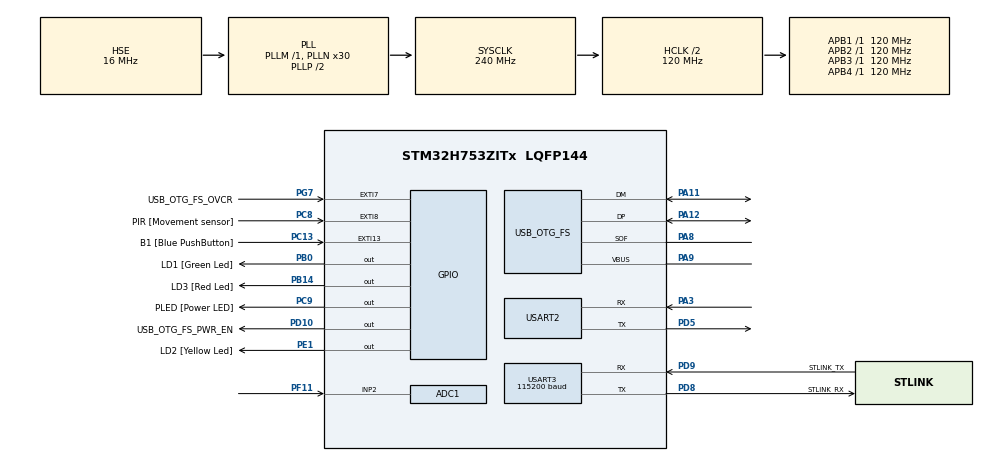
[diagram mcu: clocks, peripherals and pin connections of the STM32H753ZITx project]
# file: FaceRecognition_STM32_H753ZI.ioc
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ADC1.Channel-0\#ChannelRegularConversion=ADC_CHANNEL_2
ADC1.ClockPrescaler=ADC_CLOCK_ASYNC_DIV256
ADC1.ContinuousConvMode=DISABLE
ADC1.NbrOfConversionFlag=1
ADC1.OffsetNumber-0\#ChannelRegularConversion=ADC_OFFSET_NONE
ADC1.OffsetSignedSaturation-0\#ChannelRegularConversion=DISABLE
ADC1.Rank-0\#ChannelRegularConversion=1
ADC1.SamplingTime-0\#ChannelRegularConversion=ADC_SAMPLETIME_1CYCLE_5
ADC1.master=1
CORTEX_M7.CPU_DCache=Enabled
CORTEX_M7.CPU_ICache=Enabled
CORTEX_M7.MPU_Control=__NULL
Mcu.Family=STM32H7
Mcu.Name=STM32H753ZITx
Mcu.Package=LQFP144
NVIC.EXTI15_10_IRQn=true\:1\:0\:true\:false\:true\:true\:true\:true
NVIC.EXTI9_5_IRQn=true\:1\:0\:true\:false\:true\:true\:true\:true
NVIC.PriorityGroup=NVIC_PRIORITYGROUP_4
NVIC.TIM1_UP_IRQn=true\:2\:0\:true\:false\:true\:true\:true\:true
NVIC.USART2_IRQn=true\:0\:0\:false\:false\:true\:true\:true\:true
PA11.Mode=Device_Only
PA11.Signal=USB_OTG_FS_DM
PA12.Mode=Device_Only
PA12.Signal=USB_OTG_FS_DP
PA3.Mode=Asynchronous
PA3.Signal=USART2_RX
PA8.Mode=Activate_SOF_FS
PA8.Signal=USB_OTG_FS_SOF
PA9.Mode=Activate_VBUS
PA9.Signal=USB_OTG_FS_VBUS
PB0.GPIO_Label=LD1 [Green Led]
PB0.Signal=GPIO_Output
PB14.GPIO_Label=LD3 [Red Led]
PB14.Signal=GPIO_Output
PC13.GPIO_Label=B1 [Blue PushButton]
PC13.GPIO_ModeDefaultEXTI=GPIO_MODE_IT_FALLING
PC13.Signal=GPXTI13
PC14-OSC32_IN\ (OSC32_IN).Mode=LSE-External-Oscillator
PC14-OSC32_IN\ (OSC32_IN).Signal=RCC_OSC32_IN
PC15-OSC32_OUT\ (OSC32_OUT).Mode=LSE-External-Oscillator
PC15-OSC32_OUT\ (OSC32_OUT).Signal=RCC_OSC32_OUT
PC8.GPIO_Label=PIR [Movement sensor]
PC8.GPIO_PuPd=GPIO_PULLDOWN
PC8.Signal=GPXTI8
PC9.GPIO_Label=PLED [Power LED]
PC9.GPIO_PuPd=GPIO_PULLDOWN
PC9.Signal=GPIO_Output
PD10.GPIO_Label=USB_OTG_FS_PWR_EN
PD10.Signal=GPIO_Output
PD5.Mode=Asynchronous
PD5.Signal=USART2_TX
PD8.GPIO_Label=STLINK_RX
PD8.Mode=Asynchronous
PD8.Signal=USART3_TX
PD9.GPIO_Label=STLINK_TX
PD9.Mode=Asynchronous
PD9.Signal=USART3_RX
PE1.GPIO_Label=LD2 [Yellow Led]
PE1.Signal=GPIO_Output
PF11.Mode=IN2-Single-Ended
PF11.Signal=ADC1_INP2
PG7.GPIO_Label=USB_OTG_FS_OVCR
PG7.Signal=GPXTI7
PH0-OSC_IN\ (PH0).Mode=HSE-External-Clock-Source
PH0-OSC_IN\ (PH0).Signal=RCC_OSC_IN
PH1-OSC_OUT\ (PH1).Signal=RCC_OSC_OUT
ProjectManager.HeapSize=0x200
ProjectManager.StackSize=0x400
ProjectManager.TargetToolchain=STM32CubeIDE
RCC.ADCFreq_Value=37500000
RCC.APB1Freq_Value=120000000
RCC.APB2Freq_Value=120000000
RCC.APB3Freq_Value=120000000
RCC.APB4Freq_Value=120000000
RCC.CortexFreq_Value=240000000
RCC.DIVM1=1
RCC.DIVM2=1
RCC.DIVN1=30
RCC.DIVN2=9
RCC.DIVP2=4
RCC.DIVQ1=4
RCC.HCLKFreq_Value=120000000
RCC.HPRE=RCC_HCLK_DIV2
RCC.HSE_VALUE=16000000
RCC.PLL1_VCI_Range-AdvancedSettings=RCC_PLL1VCIRANGE_1
RCC.PLL2FRACN=3072
RCC.PLL2_VCI_Range-AdvancedSettings=RCC_PLL2VCIRANGE_0
RCC.PLL2_VCO_SEL-AdvancedSettings=RCC_PLL2VCOWIDE
RCC.PLLFRACN=0
RCC.PLLSourceVirtual=RCC_PLLSOURCE_HSE
RCC.PWR_Regulator_Voltage_Scale=PWR_REGULATOR_VOLTAGE_SCALE2
RCC.SYSCLKFreq_VALUE=240000000
RCC.SYSCLKSource=RCC_SYSCLKSOURCE_PLLCLK
RCC.USART234578CLockSelection=RCC_USART234578CLKSOURCE_HSI
RCC.USBCLockSelection=RCC_USBCLKSOURCE_HSI48
RCC.USBFreq_Value=48000000
TIM1.Period=4999
TIM1.Prescaler=23999
USART2.VirtualMode-Asynchronous=VM_ASYNC
USART3.AutoBaudRateEnableParam=UART_ADVFEATURE_AUTOBAUDRATE_DISABLE
USART3.BaudRate=115200
USART3.ClockPrescaler=PRESCALER_DIV1
USART3.DMADisableonRxErrorParam=ADVFEATURE_DMA_ENABLEONRXERROR
USART3.DataInvertParam=ADVFEATURE_DATAINV_DISABLE
USART3.FIFOMode=FIFOMODE_DISABLE
USART3.MSBFirstParam=ADVFEATURE_MSBFIRST_DISABLE
USART3.Mode=MODE_TX_RX
USART3.OneBitSampling=UART_ONE_BIT_SAMPLE_DISABLE
USART3.OverSampling=UART_OVERSAMPLING_16
USART3.OverrunDisableParam=ADVFEATURE_OVERRUN_ENABLE
USART3.Parity=PARITY_NONE
USART3.RXFIFOThreshold=RXFIFO_THRESHOLD_1EIGHTHFULL
USART3.RxPinLevelInvertParam=ADVFEATURE_RXINV_DISABLE
USART3.StopBits=STOPBITS_1
USART3.SwapParam=ADVFEATURE_SWAP_DISABLE
USART3.TXFIFOThreshold=TXFIFO_THRESHOLD_1EIGHTHFULL
USART3.TxPinLevelInvertParam=ADVFEATURE_TXINV_DISABLE
USART3.VirtualMode-Asynchronous=VM_ASYNC
USART3.WordLength=WORDLENGTH_8B
USB_OTG_FS.Sof_enable=ENABLE
USB_OTG_FS.VirtualMode=Device_Only
USB_OTG_FS.battery_charging_enable=ENABLE
USB_OTG_FS.low_power_enable=DISABLE
USB_OTG_FS.lpm_enable=DISABLE
USB_OTG_FS.use_dedicated_ep1=DISABLE
USB_OTG_FS.vbus_sensing_enable=ENABLE
VP_TIM1_VS_ClockSourceINT.Mode=Internal
board=NUCLEO-H753ZI

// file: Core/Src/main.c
/* USER CODE BEGIN Header */
/**
  ******************************************************************************
  * @file           : main.c
  * @brief          : Main program body
  ******************************************************************************
  * @attention
  *
  * Copyright (c) 2024 STMicroelectronics.
  * All rights reserved.
  *
  * This software is licensed under terms that can be found in the LICENSE file
  * in the root directory of this software component.
  * If no LICENSE file comes with this software, it is provided AS-IS.
  *
  ******************************************************************************
  */
/* USER CODE END Header */
#include "main.h"

/* USER CODE BEGIN Includes */
#include <string.h>
#include "mtcnn.h"
#include "cnn.h"
#include "lite_face.h"

/* USER CODE END Includes */

/* USER CODE BEGIN PD */

#define IMAGE_WIDTH 160
#define IMAGE_HEIGHT 120
#define CHANNEL_SIZE IMAGE_WIDTH*IMAGE_HEIGHT
#define MAX_DETECTED_FACES 10
#define MODE 1
#define TESTING 1

/* USER CODE END PD */

ADC_HandleTypeDef hadc1;

TIM_HandleTypeDef htim1;

UART_HandleTypeDef huart2;
UART_HandleTypeDef huart3;

PCD_HandleTypeDef hpcd_USB_OTG_FS;

/* USER CODE BEGIN PV */

uint8_t rxBuffer[2] = {0};
volatile uint16_t rxBufferSize = 2;
volatile uint8_t rxInProgress = 0;
volatile uint8_t rxDone = 0;
volatile uint8_t firstPacket = 0;

uint8_t receivedData[CHANNEL_SIZE*2] = {0};
volatile size_t receivedDataSize = 0;
volatile uint16_t adcValue = 0;
volatile uint8_t abortReceivingFlag = 1;
volatile uint8_t timerTick = 0;
volatile uint8_t lastTimerTick = 0;

uint8_t txBufferGetImage[1] = {255};
uint8_t txBufferSentImage[1] = {254};
uint8_t txNull[5] = {0};

/* USER CODE END PV */

void SystemClock_Config(void);
static void MX_GPIO_Init(void);
static void MX_USART3_UART_Init(void);
static void MX_USB_OTG_FS_PCD_Init(void);
static void MX_USART2_UART_Init(void);
static void MX_ADC1_Init(void);
static void MX_TIM1_Init(void);
/* USER CODE BEGIN PFP */
void UART_SendArray(UART_HandleTypeDef *huart, const uint8_t *array, uint32_t arraySize, uint16_t chunkSize);
/* USER CODE END PFP */

int main(void)
{

  /* Enable I-Cache---------------------------------------------------------*/
  SCB_EnableICache();

  /* Enable D-Cache---------------------------------------------------------*/
  SCB_EnableDCache();

  /* MCU Configuration--------------------------------------------------------*/

  /* Reset of all peripherals, Initializes the Flash interface and the Systick. */
  HAL_Init();

  /* Configure the system clock */
  SystemClock_Config();

  /* Initialize all configured peripherals */
  MX_GPIO_Init();
  MX_USART3_UART_Init();
  MX_USB_OTG_FS_PCD_Init();
  MX_USART2_UART_Init();
  MX_ADC1_Init();
  MX_TIM1_Init();
  /* USER CODE BEGIN 2 */

  HAL_ADCEx_Calibration_Start(&hadc1, ADC_CALIB_OFFSET, ADC_SINGLE_ENDED);
  HAL_TIM_Base_Start_IT(&htim1);

  HAL_GPIO_WritePin(LD1_GPIO_Port, LD1_Pin, GPIO_PIN_SET);
  /* USER CODE END 2 */

  /* Infinite loop */
  while (1)
  {

    /* USER CODE BEGIN 3 */
	  if (rxDone){
		  // sending system mode
		  uint8_t modeTx[] = {MODE};
		  HAL_UART_Transmit(&huart2, modeTx, 1, 100);
		  HAL_GPIO_WritePin(PLED_GPIO_Port, PLED_Pin, GPIO_PIN_RESET);
		  HAL_GPIO_WritePin(LD3_GPIO_Port, LD3_Pin, GPIO_PIN_RESET);
		  HAL_GPIO_WritePin(LD2_GPIO_Port, LD2_Pin, GPIO_PIN_SET);

		  // converting RGB5656 to RGB888
		  uint8_t imageRGB[CHANNEL_SIZE*3] = {0};
		  for (size_t i = 0, j = 0; i < receivedDataSize; i += 2, j += 1) {
			// read the RGB565 value (2 bytes)
			uint16_t pixel = (receivedData[i] << 8) | receivedData[i + 1];

			// extract RGB components from RGB565
			uint8_t r5 = (pixel >> 11) & 0x1F; // 5 bits for red
			uint8_t g6 = (pixel >> 5) & 0x3F;  // 6 bits for green
			uint8_t b5 = pixel & 0x1F;         // 5 bits for blue

			// convert to 8-bit per channel (RGB888)
			imageRGB[j] = (r5 << 3) | (r5 >> 2);	// red
			imageRGB[CHANNEL_SIZE + j] = (g6 << 2) | (g6 >> 4);	// green
			imageRGB[CHANNEL_SIZE*2 + j] = (b5 << 3) | (b5 >> 2);	// blue
		  }

		  // scaling image to 48x64
		  uint8_t scaledImage[3*48*64] = {0};
		  CNN_AdaptiveAveragePool_Uint8_Uint8(3, IMAGE_HEIGHT, IMAGE_WIDTH, 48, 64, imageRGB, scaledImage);

		  // face detection algorithm
		  float boxes[5*MAX_DETECTED_FACES];
		  int boxesLen = MTCNN_DetectFace(3, 48, 64, scaledImage, boxes);

		  if (TESTING){
			  uint8_t outputBuffer[boxesLen*5];
			  for (size_t i=0;i<boxesLen*5;++i){
				  outputBuffer[i] = roundf(boxes[i]);
			  }
			  HAL_UART_Transmit(&huart3, outputBuffer, boxesLen*5, 100);
			  if (boxesLen == 0){
				  HAL_UART_Transmit(&huart3, txNull, 5, 100);
			  }
		  }

		  // sending count of detected faces
		  uint8_t boxesLenTx[] = {(uint8_t)boxesLen};
		  HAL_UART_Transmit(&huart2, boxesLenTx, 1, 100);
		  if (boxesLen > 0){
			// scaling boxes to original size
			uint8_t finalBoxes[boxesLen*4];
			for (size_t i=0, j=0;i<boxesLen*5;i+=5, j+=4){
			  finalBoxes[j] = roundf(boxes[i] * 2.5f);
			  finalBoxes[j+1] = roundf(boxes[i+1] * 2.5f);
			  finalBoxes[j+2] = roundf(boxes[i+2] * 2.5f);
			  finalBoxes[j+3] = roundf(boxes[i+3] * 2.5f);
			}
			// sending detected boxes
			if (MODE == 0){
			  HAL_UART_Transmit(&huart2, finalBoxes, (uint16_t)boxesLen*4, 100);
			}
			else if (MODE == 1){
				// face recognition algorithm
				for (size_t i=0;i<boxesLen;++i){
					// extracting face from image
					size_t start = finalBoxes[i * 4] + finalBoxes[i * 4 + 1] * IMAGE_WIDTH;
					size_t width = finalBoxes[i * 4 + 2] - finalBoxes[i * 4];
					size_t height = finalBoxes[i * 4 + 3] - finalBoxes[i * 4 + 1];
					uint8_t alignedImage[3*height*width];
					for (uint8_t o=0;o<3;++o){
						for (size_t j=0; j<height;++j){
							memcpy(alignedImage + o*width*height + j*width, imageRGB + CHANNEL_SIZE*o + start + (j*IMAGE_WIDTH), width);
						}
					}
					if (TESTING){
						uint8_t txSize[] = {height, width};
						HAL_UART_Transmit(&huart3, txNull, 5, 100);
						HAL_UART_Transmit(&huart3, txSize, 2, 100);
//						HAL_UART_Transmit(&huart3, txNull, 5, 100);
//						UART_SendArray(&huart3, alignedImage, 3*height*width, 1024);
					}

					// scaling image to 100x100
					float scaledAlignedImage[3*100*100];
					CNN_AdaptiveAveragePool_Uint8_Float(3, height, width, 100, 100, alignedImage, scaledAlignedImage);
					if (TESTING){
						HAL_UART_Transmit(&huart3, txNull, 5, 100);
					}

					// image normalization
					for (size_t j=0;j<3*100*100;++j){
						scaledAlignedImage[j] /= 255;
					}
					const float means[3] = {0.5f, 0.5f, 0.5f};
					const float stds[3] = {0.5f, 0.5f, 0.5f};
					CNN_Normalize(3, 100, 100, scaledAlignedImage, means, stds);

					// getting face embedding
					float faceEmbedding[128];
					LiteFace_Model(scaledAlignedImage, faceEmbedding);

					// converting face embedding to raw bytes
					uint8_t txEmbedding[128*4] = {0};
					for (uint8_t j=0;j<128;++j){
						// copy float to uint8_t
						uint32_t temp = 0;
						memcpy(&temp, &faceEmbedding[j], sizeof(float));

						// convert uint32_t to 4 uint8_t (big-endian format)
						txEmbedding[j * 4] = (temp >> 24) & 0xFF;
						txEmbedding[j * 4 + 1] = (temp >> 16) & 0xFF;
						txEmbedding[j * 4 + 2] = (temp >> 8) & 0xFF;
						txEmbedding[j * 4 + 3] = temp & 0xFF;
					}

					// sending face embedding
					uint16_t chunkSize = 256;
					for (size_t pointer=0;pointer<4*128;pointer+=chunkSize){
						HAL_UART_Transmit(&huart2, txEmbedding+pointer, chunkSize, 1000);
						HAL_Delay(100);
					}
					if (TESTING){
						HAL_UART_Transmit(&huart3, txNull, 5, 100);
//						HAL_UART_Transmit(&huart3, txEmbedding, 512, 500);
					}
				}
			}
		  }
		  HAL_GPIO_WritePin(LD2_GPIO_Port, LD2_Pin, GPIO_PIN_RESET);
		  HAL_Delay(1000);
		  receivedDataSize = 0;
		  rxDone = 0;
	  }
  }
  /* USER CODE END 3 */
}

void SystemClock_Config(void)
{
  RCC_OscInitTypeDef RCC_OscInitStruct = {0};
  RCC_ClkInitTypeDef RCC_ClkInitStruct = {0};

  /** Supply configuration update enable
  */
  HAL_PWREx_ConfigSupply(PWR_LDO_SUPPLY);

  /** Configure the main internal regulator output voltage
  */
  __HAL_PWR_VOLTAGESCALING_CONFIG(PWR_REGULATOR_VOLTAGE_SCALE2);

  while(!__HAL_PWR_GET_FLAG(PWR_FLAG_VOSRDY)) {}

  /** Initializes the RCC Oscillators according to the specified parameters
  * in the RCC_OscInitTypeDef structure.
  */
  RCC_OscInitStruct.OscillatorType = RCC_OSCILLATORTYPE_HSI48|RCC_OSCILLATORTYPE_HSI
                              |RCC_OSCILLATORTYPE_HSE;
  RCC_OscInitStruct.HSEState = RCC_HSE_BYPASS;
  RCC_OscInitStruct.HSIState = RCC_HSI_DIV1;
  RCC_OscInitStruct.HSICalibrationValue = RCC_HSICALIBRATION_DEFAULT;
  RCC_OscInitStruct.HSI48State = RCC_HSI48_ON;
  RCC_OscInitStruct.PLL.PLLState = RCC_PLL_ON;
  RCC_OscInitStruct.PLL.PLLSource = RCC_PLLSOURCE_HSE;
  RCC_OscInitStruct.PLL.PLLM = 1;
  RCC_OscInitStruct.PLL.PLLN = 30;
  RCC_OscInitStruct.PLL.PLLP = 2;
  RCC_OscInitStruct.PLL.PLLQ = 4;
  RCC_OscInitStruct.PLL.PLLR = 2;
  RCC_OscInitStruct.PLL.PLLRGE = RCC_PLL1VCIRANGE_3;
  RCC_OscInitStruct.PLL.PLLVCOSEL = RCC_PLL1VCOWIDE;
  RCC_OscInitStruct.PLL.PLLFRACN = 0;
  if (HAL_RCC_OscConfig(&RCC_OscInitStruct) != HAL_OK)
  {
    Error_Handler();
  }

  /** Initializes the CPU, AHB and APB buses clocks
  */
  RCC_ClkInitStruct.ClockType = RCC_CLOCKTYPE_HCLK|RCC_CLOCKTYPE_SYSCLK
                              |RCC_CLOCKTYPE_PCLK1|RCC_CLOCKTYPE_PCLK2
                              |RCC_CLOCKTYPE_D3PCLK1|RCC_CLOCKTYPE_D1PCLK1;
  RCC_ClkInitStruct.SYSCLKSource = RCC_SYSCLKSOURCE_PLLCLK;
  RCC_ClkInitStruct.SYSCLKDivider = RCC_SYSCLK_DIV1;
  RCC_ClkInitStruct.AHBCLKDivider = RCC_HCLK_DIV2;
  RCC_ClkInitStruct.APB3CLKDivider = RCC_APB3_DIV1;
  RCC_ClkInitStruct.APB1CLKDivider = RCC_APB1_DIV1;
  RCC_ClkInitStruct.APB2CLKDivider = RCC_APB2_DIV1;
  RCC_ClkInitStruct.APB4CLKDivider = RCC_APB4_DIV1;

  if (HAL_RCC_ClockConfig(&RCC_ClkInitStruct, FLASH_LATENCY_2) != HAL_OK)
  {
    Error_Handler();
  }
}

static void MX_ADC1_Init(void)
{

  ADC_MultiModeTypeDef multimode = {0};
  ADC_ChannelConfTypeDef sConfig = {0};

  /** Common config
  */
  hadc1.Instance = ADC1;
  hadc1.Init.ClockPrescaler = ADC_CLOCK_ASYNC_DIV256;
  hadc1.Init.Resolution = ADC_RESOLUTION_16B;
  hadc1.Init.ScanConvMode = ADC_SCAN_DISABLE;
  hadc1.Init.EOCSelection = ADC_EOC_SINGLE_CONV;
  hadc1.Init.LowPowerAutoWait = DISABLE;
  hadc1.Init.ContinuousConvMode = DISABLE;
  hadc1.Init.NbrOfConversion = 1;
  hadc1.Init.DiscontinuousConvMode = DISABLE;
  hadc1.Init.ExternalTrigConv = ADC_SOFTWARE_START;
  hadc1.Init.ExternalTrigConvEdge = ADC_EXTERNALTRIGCONVEDGE_NONE;
  hadc1.Init.ConversionDataManagement = ADC_CONVERSIONDATA_DR;
  hadc1.Init.Overrun = ADC_OVR_DATA_PRESERVED;
  hadc1.Init.LeftBitShift = ADC_LEFTBITSHIFT_NONE;
  hadc1.Init.OversamplingMode = DISABLE;
  if (HAL_ADC_Init(&hadc1) != HAL_OK)
  {
    Error_Handler();
  }

  /** Configure the ADC multi-mode
  */
  multimode.Mode = ADC_MODE_INDEPENDENT;
  if (HAL_ADCEx_MultiModeConfigChannel(&hadc1, &multimode) != HAL_OK)
  {
    Error_Handler();
  }

  /** Configure Regular Channel
  */
  sConfig.Channel = ADC_CHANNEL_2;
  sConfig.Rank = ADC_REGULAR_RANK_1;
  sConfig.SamplingTime = ADC_SAMPLETIME_1CYCLE_5;
  sConfig.SingleDiff = ADC_SINGLE_ENDED;
  sConfig.OffsetNumber = ADC_OFFSET_NONE;
  sConfig.Offset = 0;
  sConfig.OffsetSignedSaturation = DISABLE;
  if (HAL_ADC_ConfigChannel(&hadc1, &sConfig) != HAL_OK)
  {
    Error_Handler();
  }

}

static void MX_TIM1_Init(void)
{

  TIM_ClockConfigTypeDef sClockSourceConfig = {0};
  TIM_MasterConfigTypeDef sMasterConfig = {0};

  htim1.Instance = TIM1;
  htim1.Init.Prescaler = 23999;
  htim1.Init.CounterMode = TIM_COUNTERMODE_UP;
  htim1.Init.Period = 4999;
  htim1.Init.ClockDivision = TIM_CLOCKDIVISION_DIV1;
  htim1.Init.RepetitionCounter = 0;
  htim1.Init.AutoReloadPreload = TIM_AUTORELOAD_PRELOAD_DISABLE;
  if (HAL_TIM_Base_Init(&htim1) != HAL_OK)
  {
    Error_Handler();
  }
  sClockSourceConfig.ClockSource = TIM_CLOCKSOURCE_INTERNAL;
  if (HAL_TIM_ConfigClockSource(&htim1, &sClockSourceConfig) != HAL_OK)
  {
    Error_Handler();
  }
  sMasterConfig.MasterOutputTrigger = TIM_TRGO_RESET;
  sMasterConfig.MasterOutputTrigger2 = TIM_TRGO2_RESET;
  sMasterConfig.MasterSlaveMode = TIM_MASTERSLAVEMODE_DISABLE;
  if (HAL_TIMEx_MasterConfigSynchronization(&htim1, &sMasterConfig) != HAL_OK)
  {
    Error_Handler();
  }

}

static void MX_USART2_UART_Init(void)
{

  huart2.Instance = USART2;
  huart2.Init.BaudRate = 115200;
  huart2.Init.WordLength = UART_WORDLENGTH_8B;
  huart2.Init.StopBits = UART_STOPBITS_1;
  huart2.Init.Parity = UART_PARITY_NONE;
  huart2.Init.Mode = UART_MODE_TX_RX;
  huart2.Init.HwFlowCtl = UART_HWCONTROL_NONE;
  huart2.Init.OverSampling = UART_OVERSAMPLING_16;
  huart2.Init.OneBitSampling = UART_ONE_BIT_SAMPLE_DISABLE;
  huart2.Init.ClockPrescaler = UART_PRESCALER_DIV1;
  huart2.AdvancedInit.AdvFeatureInit = UART_ADVFEATURE_NO_INIT;
  if (HAL_UART_Init(&huart2) != HAL_OK)
  {
    Error_Handler();
  }
  if (HAL_UARTEx_SetTxFifoThreshold(&huart2, UART_TXFIFO_THRESHOLD_1_8) != HAL_OK)
  {
    Error_Handler();
  }
  if (HAL_UARTEx_SetRxFifoThreshold(&huart2, UART_RXFIFO_THRESHOLD_1_8) != HAL_OK)
  {
    Error_Handler();
  }
  if (HAL_UARTEx_DisableFifoMode(&huart2) != HAL_OK)
  {
    Error_Handler();
  }

}

static void MX_USART3_UART_Init(void)
{

  huart3.Instance = USART3;
  huart3.Init.BaudRate = 115200;
  huart3.Init.WordLength = UART_WORDLENGTH_8B;
  huart3.Init.StopBits = UART_STOPBITS_1;
  huart3.Init.Parity = UART_PARITY_NONE;
  huart3.Init.Mode = UART_MODE_TX_RX;
  huart3.Init.HwFlowCtl = UART_HWCONTROL_NONE;
  huart3.Init.OverSampling = UART_OVERSAMPLING_16;
  huart3.Init.OneBitSampling = UART_ONE_BIT_SAMPLE_DISABLE;
  huart3.Init.ClockPrescaler = UART_PRESCALER_DIV1;
  huart3.AdvancedInit.AdvFeatureInit = UART_ADVFEATURE_NO_INIT;
  if (HAL_UART_Init(&huart3) != HAL_OK)
  {
    Error_Handler();
  }
  if (HAL_UARTEx_SetTxFifoThreshold(&huart3, UART_TXFIFO_THRESHOLD_1_8) != HAL_OK)
  {
    Error_Handler();
  }
  if (HAL_UARTEx_SetRxFifoThreshold(&huart3, UART_RXFIFO_THRESHOLD_1_8) != HAL_OK)
  {
    Error_Handler();
  }
  if (HAL_UARTEx_DisableFifoMode(&huart3) != HAL_OK)
  {
    Error_Handler();
  }

}

static void MX_USB_OTG_FS_PCD_Init(void)
{

  hpcd_USB_OTG_FS.Instance = USB_OTG_FS;
  hpcd_USB_OTG_FS.Init.dev_endpoints = 9;
  hpcd_USB_OTG_FS.Init.speed = PCD_SPEED_FULL;
  hpcd_USB_OTG_FS.Init.dma_enable = DISABLE;
  hpcd_USB_OTG_FS.Init.phy_itface = PCD_PHY_EMBEDDED;
  hpcd_USB_OTG_FS.Init.Sof_enable = ENABLE;
  hpcd_USB_OTG_FS.Init.low_power_enable = DISABLE;
  hpcd_USB_OTG_FS.Init.lpm_enable = DISABLE;
  hpcd_USB_OTG_FS.Init.battery_charging_enable = ENABLE;
  hpcd_USB_OTG_FS.Init.vbus_sensing_enable = ENABLE;
  hpcd_USB_OTG_FS.Init.use_dedicated_ep1 = DISABLE;
  if (HAL_PCD_Init(&hpcd_USB_OTG_FS) != HAL_OK)
  {
    Error_Handler();
  }

}

static void MX_GPIO_Init(void)
{
  GPIO_InitTypeDef GPIO_InitStruct = {0};

  /* GPIO Ports Clock Enable */
  __HAL_RCC_GPIOC_CLK_ENABLE();
  __HAL_RCC_GPIOH_CLK_ENABLE();
  __HAL_RCC_GPIOA_CLK_ENABLE();
  __HAL_RCC_GPIOB_CLK_ENABLE();
  __HAL_RCC_GPIOF_CLK_ENABLE();
  __HAL_RCC_GPIOD_CLK_ENABLE();
  __HAL_RCC_GPIOG_CLK_ENABLE();
  __HAL_RCC_GPIOE_CLK_ENABLE();

  /*Configure GPIO pin Output Level */
  HAL_GPIO_WritePin(GPIOB, LD1_Pin|LD3_Pin, GPIO_PIN_RESET);

  /*Configure GPIO pin Output Level */
  HAL_GPIO_WritePin(USB_OTG_FS_PWR_EN_GPIO_Port, USB_OTG_FS_PWR_EN_Pin, GPIO_PIN_RESET);

  /*Configure GPIO pin Output Level */
  HAL_GPIO_WritePin(PLED_GPIO_Port, PLED_Pin, GPIO_PIN_RESET);

  /*Configure GPIO pin Output Level */
  HAL_GPIO_WritePin(LD2_GPIO_Port, LD2_Pin, GPIO_PIN_RESET);

  /*Configure GPIO pin : B1_Pin */
  GPIO_InitStruct.Pin = B1_Pin;
  GPIO_InitStruct.Mode = GPIO_MODE_IT_FALLING;
  GPIO_InitStruct.Pull = GPIO_NOPULL;
  HAL_GPIO_Init(B1_GPIO_Port, &GPIO_InitStruct);

  /*Configure GPIO pins : LD1_Pin LD3_Pin */
  GPIO_InitStruct.Pin = LD1_Pin|LD3_Pin;
  GPIO_InitStruct.Mode = GPIO_MODE_OUTPUT_PP;
  GPIO_InitStruct.Pull = GPIO_NOPULL;
  GPIO_InitStruct.Speed = GPIO_SPEED_FREQ_LOW;
  HAL_GPIO_Init(GPIOB, &GPIO_InitStruct);

  /*Configure GPIO pin : USB_OTG_FS_PWR_EN_Pin */
  GPIO_InitStruct.Pin = USB_OTG_FS_PWR_EN_Pin;
  GPIO_InitStruct.Mode = GPIO_MODE_OUTPUT_PP;
  GPIO_InitStruct.Pull = GPIO_NOPULL;
  GPIO_InitStruct.Speed = GPIO_SPEED_FREQ_LOW;
  HAL_GPIO_Init(USB_OTG_FS_PWR_EN_GPIO_Port, &GPIO_InitStruct);

  /*Configure GPIO pin : USB_OTG_FS_OVCR_Pin */
  GPIO_InitStruct.Pin = USB_OTG_FS_OVCR_Pin;
  GPIO_InitStruct.Mode = GPIO_MODE_IT_RISING;
  GPIO_InitStruct.Pull = GPIO_NOPULL;
  HAL_GPIO_Init(USB_OTG_FS_OVCR_GPIO_Port, &GPIO_InitStruct);

  /*Configure GPIO pin : PIR_Pin */
  GPIO_InitStruct.Pin = PIR_Pin;
  GPIO_InitStruct.Mode = GPIO_MODE_IT_RISING;
  GPIO_InitStruct.Pull = GPIO_PULLDOWN;
  HAL_GPIO_Init(PIR_GPIO_Port, &GPIO_InitStruct);

  /*Configure GPIO pin : PLED_Pin */
  GPIO_InitStruct.Pin = PLED_Pin;
  GPIO_InitStruct.Mode = GPIO_MODE_OUTPUT_PP;
  GPIO_InitStruct.Pull = GPIO_PULLDOWN;
  GPIO_InitStruct.Speed = GPIO_SPEED_FREQ_LOW;
  HAL_GPIO_Init(PLED_GPIO_Port, &GPIO_InitStruct);

  /*Configure GPIO pin : LD2_Pin */
  GPIO_InitStruct.Pin = LD2_Pin;
  GPIO_InitStruct.Mode = GPIO_MODE_OUTPUT_PP;
  GPIO_InitStruct.Pull = GPIO_NOPULL;
  GPIO_InitStruct.Speed = GPIO_SPEED_FREQ_LOW;
  HAL_GPIO_Init(LD2_GPIO_Port, &GPIO_InitStruct);

  /* EXTI interrupt init*/
  HAL_NVIC_SetPriority(EXTI9_5_IRQn, 1, 0);
  HAL_NVIC_EnableIRQ(EXTI9_5_IRQn);

  HAL_NVIC_SetPriority(EXTI15_10_IRQn, 1, 0);
  HAL_NVIC_EnableIRQ(EXTI15_10_IRQn);

}

/* USER CODE BEGIN 4 */

void HAL_UART_RxCpltCallback(UART_HandleTypeDef *huart)
{
  lastTimerTick = timerTick;
  if (rxBufferSize == 2){
	  HAL_GPIO_WritePin(PLED_GPIO_Port, PLED_Pin, GPIO_PIN_RESET);
	  if (firstPacket){
		  firstPacket = 0;
		  HAL_UART_Transmit(&huart2, rxBuffer, 2, 100);
		  HAL_UART_Receive_IT(&huart2, rxBuffer, 2);
		  return;
	  }
	  rxBufferSize = ((uint16_t)rxBuffer[0] << 8) | (uint16_t)rxBuffer[1];
	  if (!rxBufferSize){
		  rxDone = 1;
		  rxInProgress = 0;
		  rxBufferSize = 2;
		  return;
	  }
	  HAL_UART_Receive_IT(&huart2, receivedData + receivedDataSize, rxBufferSize);
	  if (TESTING){
		  HAL_UART_Transmit(&huart3, rxBuffer, 2, 100);
	  }
  }
  else{
	  HAL_UART_Receive_IT(&huart2, rxBuffer, 2);
	  receivedDataSize += rxBufferSize;
	  rxBufferSize = 2;
  }
}

void HAL_GPIO_EXTI_Callback(uint16_t GPIO_Pin)
{
  if (rxInProgress || rxDone){
	  return;
  }
  lastTimerTick = timerTick;
  if(GPIO_Pin == GPIO_PIN_13) {
	  firstPacket = 1;
	  HAL_StatusTypeDef error = HAL_UART_Receive_IT(&huart2, rxBuffer, 2);
	  if (error != HAL_OK){
		  if (TESTING){
			  uint8_t txError[1] = {error};
			  HAL_UART_Transmit(&huart3, txError, 1, 100);
		  }
		  return;
	  }
	  HAL_GPIO_WritePin(LD3_GPIO_Port, LD3_Pin, GPIO_PIN_SET);
	  HAL_UART_Transmit(&huart2, txBufferGetImage, 1, 100);
	  if (TESTING){
		  HAL_UART_Transmit(&huart3, txBufferGetImage, 1, 100);
	  }
	  rxInProgress = 1;
  }
  else if (GPIO_Pin == GPIO_PIN_8){
	  HAL_ADC_Start(&hadc1);
	  if (HAL_ADC_PollForConversion(&hadc1, HAL_MAX_DELAY) == HAL_OK) {
		  adcValue = HAL_ADC_GetValue(&hadc1);
		  if (adcValue <= 4096){
			  HAL_GPIO_WritePin(PLED_GPIO_Port, PLED_Pin, GPIO_PIN_SET);
		  }

		  if (TESTING){
			  uint8_t txADC[2] = {0};
			  txADC[0] = (adcValue >> 8) & 0xFF;
			  txADC[1] = adcValue & 0xFF;
			  HAL_UART_Transmit(&huart3, txADC, 2, 100);
		  }
	  }
	  firstPacket = 1;
	  HAL_StatusTypeDef error = HAL_UART_Receive_IT(&huart2, rxBuffer, 2);
	  if (error != HAL_OK){
		  if (TESTING){
			  uint8_t txError[1] = {error};
			  HAL_UART_Transmit(&huart3, txError, 1, 100);
		  }
		  return;
	  }
	  HAL_GPIO_WritePin(LD3_GPIO_Port, LD3_Pin, GPIO_PIN_SET);
	  HAL_UART_Transmit(&huart2, txBufferGetImage, 1, 100);
	  if (TESTING){
		  HAL_UART_Transmit(&huart3, txBufferGetImage, 1, 100);
	  }
	  rxInProgress = 1;
  } else {
      __NOP();
  }
}

void HAL_UART_AbortReceiveCpltCallback(UART_HandleTypeDef *huart){
	rxDone = 0;
	rxInProgress = 0;
	abortReceivingFlag = 1;
    rxBufferSize = 2;
	HAL_GPIO_WritePin(PLED_GPIO_Port, PLED_Pin, GPIO_PIN_RESET);
	HAL_GPIO_WritePin(LD3_GPIO_Port, LD3_Pin, GPIO_PIN_RESET);
    if (TESTING){
    	uint8_t txAbortReceive[1] = {2};
		HAL_UART_Transmit(&huart3, txAbortReceive, 1, 100);
    }
}

void HAL_TIM_PeriodElapsedCallback(TIM_HandleTypeDef *htim)
{
    if (htim->Instance == TIM1)
    {
    	++timerTick;
    	if (TESTING){
            HAL_GPIO_TogglePin(LD1_GPIO_Port, LD1_Pin);
    	}
		if (timerTick - lastTimerTick >= 2 && rxInProgress && abortReceivingFlag){
		  abortReceivingFlag = 0;
		  HAL_UART_AbortReceive_IT(&huart2);
		}
    }
}

void UART_SendArray(UART_HandleTypeDef *huart, const uint8_t *array, uint32_t arraySize, uint16_t chunkSize){
	size_t pointer = 0;
	uint16_t txChunkSize = 0;
	for (size_t n = 0; n < arraySize; n += chunkSize){
	  if (n + chunkSize <= arraySize) {
		  txChunkSize = chunkSize;
	  } else {
		  txChunkSize = arraySize % chunkSize;
	  }
	  HAL_UART_Transmit(huart, array+pointer, txChunkSize, 1000);
	  pointer += txChunkSize;
	}
}

/* USER CODE END 4 */

void Error_Handler(void)
{
  __disable_irq();
  while (1)
  {
  }
}
